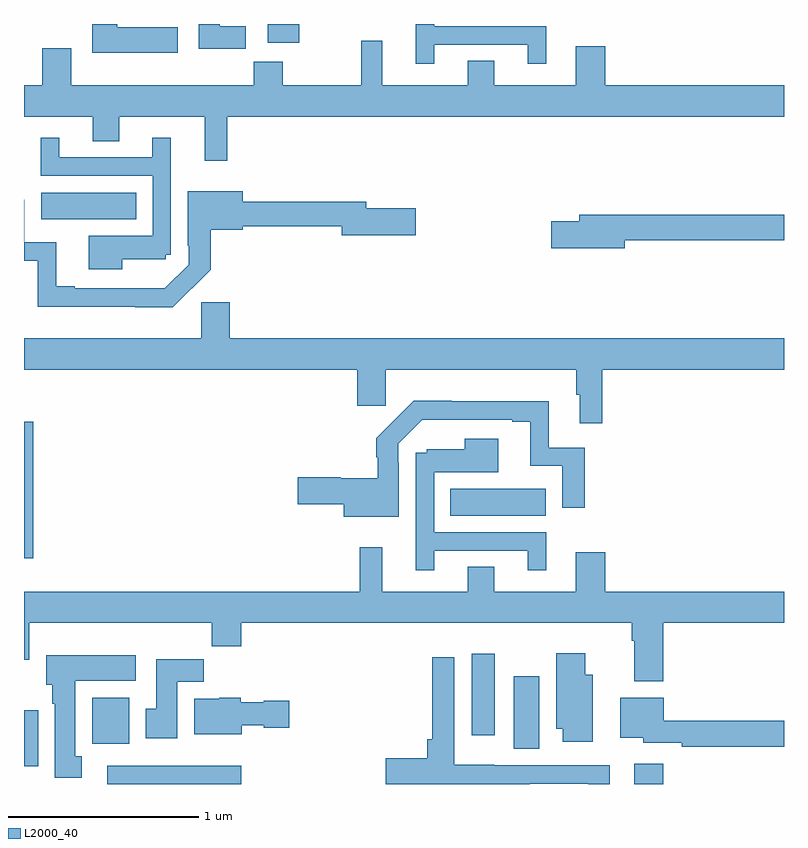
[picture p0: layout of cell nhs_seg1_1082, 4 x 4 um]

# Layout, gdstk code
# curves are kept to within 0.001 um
import gdstk
lib = gdstk.Library(unit=1e-6, precision=1e-09)
def R(c, l, rs):  # rectangles x0, y0, x1, y1
    for r in rs: c.add(gdstk.rectangle(r[:2], r[2:], *l))
def P(c, l, *ps):  # polygons
    for p in ps: c.add(gdstk.Polygon(p, *l))
L2000_40 = (2000, 40)

nhs_seg1_1082 = lib.new_cell('nhs_seg1_1082')
R(nhs_seg1_1082, L2000_40, [(169.439,568.199,170.144,568.294), (172.211,568.199,172.364,568.306), (169,568.292,169.075,568.588), (171.578,568.384,171.712,568.765), (169.358,568.412,169.555,568.654), (171.356,568.455,171.478,568.885), (169,569.388,169.049,570.106), (171.244,569.612,171.745,569.752), (169.092,571.172,169.592,571.312), (170.282,572.1,170.448,572.199)])
P(nhs_seg1_1082, L2000_40, [(171.16,572.091),(171.65,572.091),(171.65,571.989),(171.748,571.989),(171.748,572.187),(171.159,572.187),(171.159,572.199),(171.063,572.199),(171.063,571.989),(171.16,571.989)],
  [(170.168,572.188),(170.029,572.188),(170.029,572.199),(169.919,572.199),(169.919,572.07),(170.168,572.07)],
  [(169.81,572.182),(169.492,572.182),(169.492,572.199),(169.358,572.199),(169.358,572.048),(169.81,572.048)],
  [(173,571.876),(172.058,571.876),(172.058,572.083),(171.905,572.083),(171.905,571.876),(171.475,571.876),(171.475,572.006),(171.335,572.006),(171.335,571.876),(170.885,571.876),(170.885,572.11),(170.775,572.11),(170.775,571.876),(170.361,571.876),(170.361,572),(170.209,572),(170.209,571.876),(169.249,571.876),(169.249,572.071),(169.097,572.071),(169.097,571.876),(169,571.876),(169,571.712),(169.361,571.712),(169.361,571.582),(169.501,571.582),(169.501,571.712),(169.952,571.712),(169.952,571.479),(170.069,571.479),(170.069,571.712),(173,571.712)],
  [(169.516,570.962),(169.746,570.962),(169.746,570.984),(169.773,570.984),(169.773,571.6),(169.676,571.6),(169.676,571.497),(169.186,571.497),(169.186,571.6),(169.088,571.6),(169.088,571.401),(169.677,571.401),(169.677,571.084),(169.34,571.084),(169.34,570.908),(169.516,570.908)],
  [(169.982,570.905),(169.982,571.117),(170.152,571.117),(170.152,571.135),(170.672,571.135),(170.672,571.088),(171.061,571.088),(171.061,571.23),(170.8,571.23),(170.8,571.264),(170.152,571.264),(170.152,571.318),(169.863,571.318),(169.863,571.033),(169.866,571.033),(169.866,570.933),(169.741,570.808),(169.267,570.807),(169.267,570.82),(169.171,570.82),(169.171,571.05),(169.002,571.05),(169.002,571.273),(169,571.273),(169,570.954),(169.073,570.954),(169.073,570.71),(169.585,570.71),(169.585,570.708),(169.784,570.708)],
  [(172.162,571.06),(173,571.06),(173,571.196),(171.923,571.196),(171.923,571.16),(171.774,571.16),(171.774,571.018),(172.162,571.018)],
  [(172.043,570.38),(173,570.38),(173,570.544),(170.084,570.544),(170.084,570.735),(169.933,570.735),(169.933,570.544),(169,570.544),(169,570.38),(170.753,570.38),(170.753,570.189),(170.903,570.189),(170.903,570.38),(171.907,570.38),(171.907,570.248),(171.926,570.248),(171.926,570.099),(172.043,570.099)],
  [(170.973,569.891),(170.97,569.891),(170.97,569.991),(171.096,570.117),(171.569,570.117),(171.569,570.105),(171.665,570.105),(171.665,569.874),(171.834,569.874),(171.834,569.652),(171.95,569.652),(171.95,569.97),(171.763,569.97),(171.763,570.214),(171.251,570.214),(171.251,570.217),(171.052,570.217),(170.855,570.019),(170.855,569.918),(170.861,569.918),(170.861,569.808),(170.667,569.808),(170.667,569.813),(170.442,569.813),(170.442,569.671),(170.684,569.671),(170.684,569.606),(170.973,569.606)],
  [(171.16,569.427),(171.65,569.427),(171.65,569.325),(171.748,569.325),(171.748,569.523),(171.159,569.523),(171.159,569.84),(171.496,569.84),(171.496,570.016),(171.32,570.016),(171.32,569.962),(171.12,569.962),(171.12,569.943),(171.063,569.943),(171.063,569.325),(171.16,569.325)],
  [(172.058,569.419),(171.905,569.419),(171.905,569.212),(171.475,569.212),(171.475,569.342),(171.335,569.342),(171.335,569.212),(170.885,569.212),(170.885,569.446),(170.767,569.446),(170.767,569.212),(169,569.212),(169,568.854),(169.027,568.854),(169.027,569.048),(169.987,569.048),(169.987,568.924),(170.144,568.924),(170.144,569.048),(172.199,569.048),(172.199,568.952),(172.211,568.952),(172.211,568.739),(172.364,568.739),(172.364,569.048),(173,569.048),(173,569.212),(172.058,569.212)],
  [(171.994,568.774),(171.955,568.774),(171.955,568.888),(171.8,568.888),(171.8,568.49),(171.836,568.49),(171.836,568.422),(171.994,568.422)],
  [(169.303,568.346),(169.27,568.346),(169.27,568.742),(169.588,568.742),(169.588,568.876),(169.118,568.876),(169.118,568.722),(169.148,568.722),(169.148,568.622),(169.163,568.622),(169.163,568.233),(169.303,568.233)],
  [(171.662,568.201),(171.971,568.201),(171.971,568.199),(172.084,568.199),(172.084,568.299),(171.474,568.299),(171.474,568.3),(171.264,568.3),(171.264,568.867),(171.148,568.867),(171.148,568.435),(171.122,568.435),(171.122,568.334),(170.904,568.334),(170.904,568.199),(171.662,568.199)],
  [(169.807,568.736),(169.946,568.736),(169.946,568.855),(169.697,568.855),(169.697,568.596),(169.64,568.596),(169.64,568.44),(169.807,568.44)],
  [(170.146,568.508),(170.262,568.508),(170.262,568.496),(170.395,568.496),(170.395,568.638),(170.262,568.638),(170.262,568.63),(170.142,568.63),(170.142,568.654),(170.028,568.654),(170.028,568.648),(169.895,568.648),(169.895,568.46),(170.146,568.46)],
  [(173,568.532),(172.366,568.532),(172.366,568.654),(172.139,568.654),(172.139,568.442),(172.26,568.442),(172.26,568.416),(172.462,568.416),(172.462,568.396),(173,568.396)])

lib.write_gds('nhs_seg1_1082.gds')
